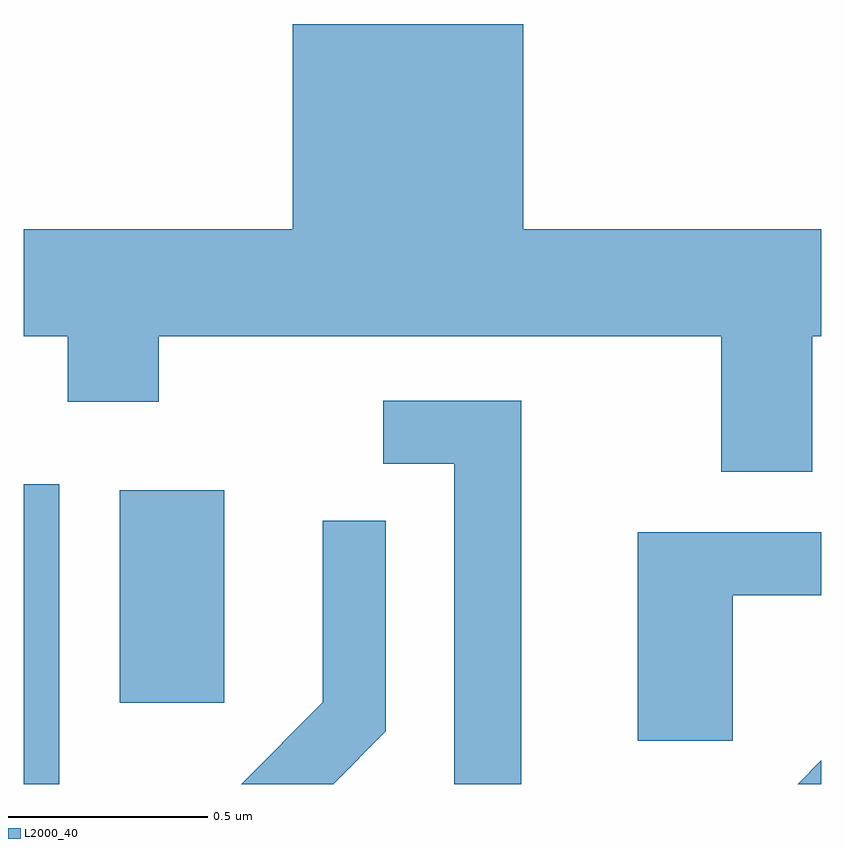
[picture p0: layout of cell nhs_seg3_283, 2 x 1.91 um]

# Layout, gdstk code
import gdstk
lib = gdstk.Library(unit=1e-6, precision=1e-09)
def R(c, l, rs):  # rectangles x0, y0, x1, y1
    for r in rs: c.add(gdstk.rectangle(r[:2], r[2:], *l))
def P(c, l, *ps):  # polygons
    for p in ps: c.add(gdstk.Polygon(p, *l))
L2000_40 = (2000, 40)

nhs_seg3_283 = lib.new_cell('nhs_seg3_283')
R(nhs_seg3_283, L2000_40, [(187.611,1124.892,187.699,1125.644), (187.851,1125.096,188.114,1125.629)])
P(nhs_seg3_283, L2000_40, [(189.589,1126.016),(189.611,1126.016),(189.611,1126.284),(188.864,1126.284),(188.864,1126.799),(188.286,1126.799),(188.286,1126.284),(187.611,1126.284),(187.611,1126.016),(187.721,1126.016),(187.721,1125.851),(187.949,1125.851),(187.949,1126.016),(189.361,1126.016),(189.361,1125.676),(189.589,1125.676)],
  [(188.859,1125.854),(188.513,1125.854),(188.513,1125.696),(188.691,1125.696),(188.691,1124.892),(188.859,1124.892)],
  [(188.519,1125.024),(188.519,1125.553),(188.361,1125.553),(188.361,1125.097),(188.156,1124.892),(188.387,1124.892)],
  [(189.389,1125.366),(189.611,1125.366),(189.611,1125.524),(189.151,1125.524),(189.151,1125.001),(189.389,1125.001)],
  [(189.611,1124.952),(189.552,1124.892),(189.611,1124.892)])

lib.write_gds('nhs_seg3_283.gds')
